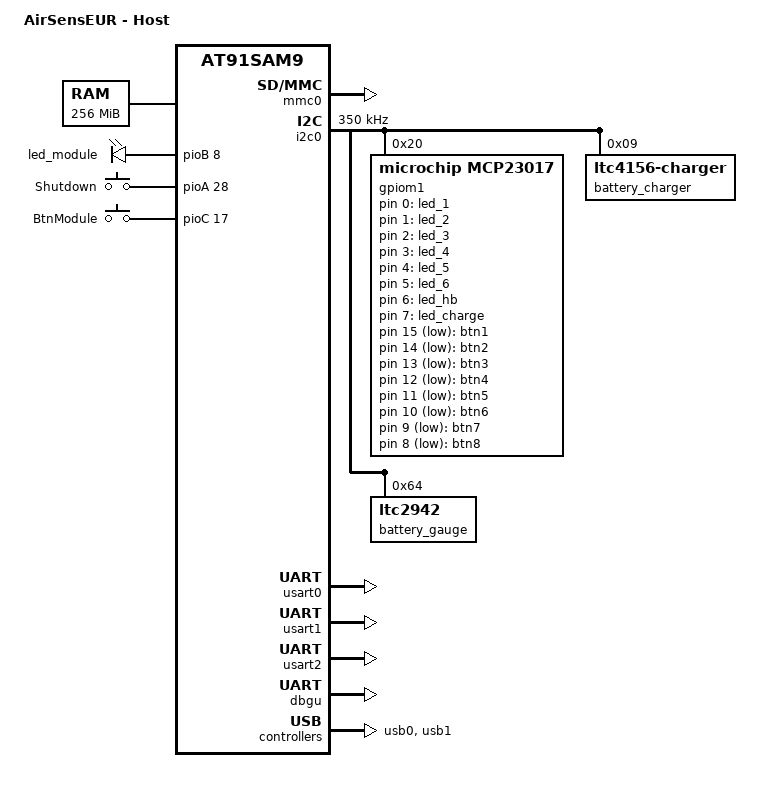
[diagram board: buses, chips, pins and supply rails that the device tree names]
/* ===========================================================================
 * Copyright 2015 EUROPEAN UNION
 *
 * Licensed under the EUPL, Version 1.1 or subsequent versions of the
 * EUPL (the "License"); You may not use this work except in compliance
 * with the License. You may obtain a copy of the License at
 * http://ec.europa.eu/idabc/eupl
 * Unless required by applicable law or agreed to in writing, software
 * distributed under the License is distributed on an "AS IS" basis,
 * WITHOUT WARRANTIES OR CONDITIONS OF ANY KIND, either express or implied.
 * See the License for the specific language governing permissions and
 * limitations under the License.
 *
 * Date: 02/04/2015
 * Authors:
 * - Michel Gerboles, michel.gerboles@jrc.ec.europa.eu, 
 *   Laurent Spinelle, laurent.spinelle@jrc.ec.europa.eu and 
 *   Alexander Kotsev, alexander.kotsev@jrc.ec.europa.eu:
 *			European Commission - Joint Research Centre, 
 * - Marco Signorini, marco.signorini@liberaintentio.com
 *
 * ===========================================================================
 */

/dts-v1/;
#include "at91sam9g25.dtsi"
/ {
	model = "AirSensEUR - Host";
	compatible = "acme,ariettag25", "atmel,at91sam9x5ek","atmel,at91sam9x5", "atmel,at91sam9";
	aliases {
		serial0 = &dbgu;
		serial1 = &usart0;
		serial2 = &usart1;
		serial3 = &usart2;
		serial4 = &usart3;
		serial5 = &uart0;
		serial6 = &uart1;
	};
	chosen {
		bootargs = "console=ttyS0,115200 root=/dev/mmcblk0p2 rw rootwait";
	};
	memory {
		reg = <0x20000000 0x10000000>;
	};
	clocks {
		#address-cells = <1>;
		#size-cells = <1>;
		ranges;
		main_clock: clock@0 {
			compatible = "atmel,osc", "fixed-clock";
			clock-frequency = <12000000>;
		};

		slow_xtal {
			clock-frequency = <32768>;
		};
		
		main_xtal { 
			clock-frequency = <12000000>; 
		}; 
	};
	ahb {
		apb {
			mmc0: mmc@f0008000 {
				pinctrl-0 = <
				  &pinctrl_mmc0_slot0_clk_cmd_dat0
				  &pinctrl_mmc0_slot0_dat1_3>;
				status = "okay";
				slot@0 {
					reg = <0>;
					bus-width = <4>;
				};
			};
			i2c0: i2c@f8010000 {
				status ="okay";
				clock-frequency = <350000>;

                                gpiom1: gpiom1 {
                                        compatible = "microchip,mcp23017";
                                        gpio-controller;
                                        #gpio-cells = <2>;
                                        reg = <0x20>;
                                };

				battery_charger: ltc4156 {
					reg = <0x09>;
					compatible="ltc4156-charger";
					usb,currentlimit = <500000>;
					wal,currentlimit = <2250000>;
					safety-timer = <14400>;
					battery-voltage = <3600000>;
				};

				battery_gauge: ltc2942 {
					compatible = "ltc2942";
					reg = <0x64>;
					lltc,resistor-sense = <3>;
					lltc,prescaler-exponent = <7>; 
				};

			};
			usart0: serial@f801c000 {
				pinctrl-0 = <&pinctrl_usart0>;
				status ="okay";
				atmel,use-dma-rx;
				atmel,use-dma-tx;
			};
			usart1: serial@f8020000 {
				pinctrl-0 = <&pinctrl_usart1>;
				status ="okay";
				atmel,use-dma-rx;
				atmel,use-dma-tx;
			};
			usart2: serial@f8024000 {
				pinctrl-0 = <&pinctrl_usart2>;
				status ="okay";
			};
			ssc0: ssc@f0010000 {
				status = "okay";
			};
			usb2: gadget@f803c000 {
				/* status = "okay"; */
			};
			dbgu: serial@fffff200 {
				status = "okay";
			};
			pinctrl@fffff400 {

			};
			rtc@fffffeb0 {
				status = "okay";
			};
		};
		usb0: ohci@00600000 {
			status = "okay";
		};
		usb1: ehci@00700000 {
			status = "okay";
		};
	};
	
	leds_direct {
		compatible = "gpio-leds";
		
		led_module {
			label = "led_module";
			gpios = <&pioB 8 GPIO_ACTIVE_HIGH>;
			linux,default-trigger = "heartbeat";
		};
	};

	leds_exp {
		compatible = "gpio-leds";

                led_user_1 {
                        label = "led_1";
                        gpios = <&gpiom1 0 GPIO_ACTIVE_HIGH>;
                        linux,default-trigger = "none";
                };

                led_user_2 {
                        label = "led_2";
                        gpios = <&gpiom1 1 GPIO_ACTIVE_HIGH>;
                        linux,default-trigger = "none";
                };

                led_user_3 {
                        label = "led_3";
                        gpios = <&gpiom1 2 GPIO_ACTIVE_HIGH>;
                        linux,default-trigger = "none";
                };

                led_user_4 {
                        label = "led_4";
                        gpios = <&gpiom1 3 GPIO_ACTIVE_HIGH>;
                        linux,default-trigger = "none";
                };

                led_user_5 {
                        label = "led_5";
                        gpios = <&gpiom1 4 GPIO_ACTIVE_HIGH>;
                        linux,default-trigger = "none";
                };

                led_user_6 {
                        label = "led_6";
                        gpios = <&gpiom1 5 GPIO_ACTIVE_HIGH>;
                        linux,default-trigger = "none";
                };

                hb_led {
                        label = "led_hb";
                        gpios = <&gpiom1 6 GPIO_ACTIVE_HIGH>;
                        linux,default-trigger = "timer"; /* Start timer. Will be changed at userlevel */
                };		

		charge_led {
			label = "led_charge";
			gpios = <&gpiom1 7 GPIO_ACTIVE_HIGH>;
			linux,default-trigger = "ltc4156-charger-0-charging-blink-full-solid";
		};
	};


	gpio_keys_direct {
		compatible = "gpio-keys";
		
		shutdown_req {
			label="Shutdown";
			gpios = <&pioA 28 GPIO_ACTIVE_HIGH>;
			linux,code = <116>;	/* KEY_POWER */
		};
 
                button_module {
                    label = "BtnModule";
                    gpios = <&pioC 17 GPIO_ACTIVE_HIGH>;
                    linux,code = <10>; /* KEY_9 */
                };
	};

	gpio_keys {
	        compatible = "gpio-keys-polled";
		#address-cells = <1>;
		#size-cells = <0>;
		poll-interval = <100>;

                button@1 {
                    label = "btn1";
                    gpios = <&gpiom1 15 GPIO_ACTIVE_LOW>;
                    linux,code = <2>; /* KEY_1 */
                };

                button@2 {
                    label = "btn2";
                    gpios = <&gpiom1 14 GPIO_ACTIVE_LOW>;
                    linux,code = <3>; /* KEY_2 */
                };

                button@3 {
                    label = "btn3";
                    gpios = <&gpiom1 13 GPIO_ACTIVE_LOW>;
                    linux,code = <4>; /* KEY_3 */
                };

                button@4 {
                    label = "btn4";
                    gpios = <&gpiom1 12 GPIO_ACTIVE_LOW>;
                    linux,code = <5>; /* KEY_4 */
                };

                button@5 {
                    label = "btn5";
                    gpios = <&gpiom1 11 GPIO_ACTIVE_LOW>;
                    linux,code = <6>; /* KEY_5 */
                };

                button@6 {
                    label = "btn6";
                    gpios = <&gpiom1 10 GPIO_ACTIVE_LOW>;
                    linux,code = <7>; /* KEY_6 */
                };

                button@7 {
                    label = "btn7";
                    gpios = <&gpiom1 9 GPIO_ACTIVE_LOW>;
                    linux,code = <8>; /* KEY_7 */
                };

	        button@8 {
	            label = "btn8";
	            gpios = <&gpiom1 8 GPIO_ACTIVE_LOW>;
	            linux,code = <9>; /* KEY_8 */
        	};
	};
	
	
	battery {
		power-supplies = <&battery_charger>;
	};

};
